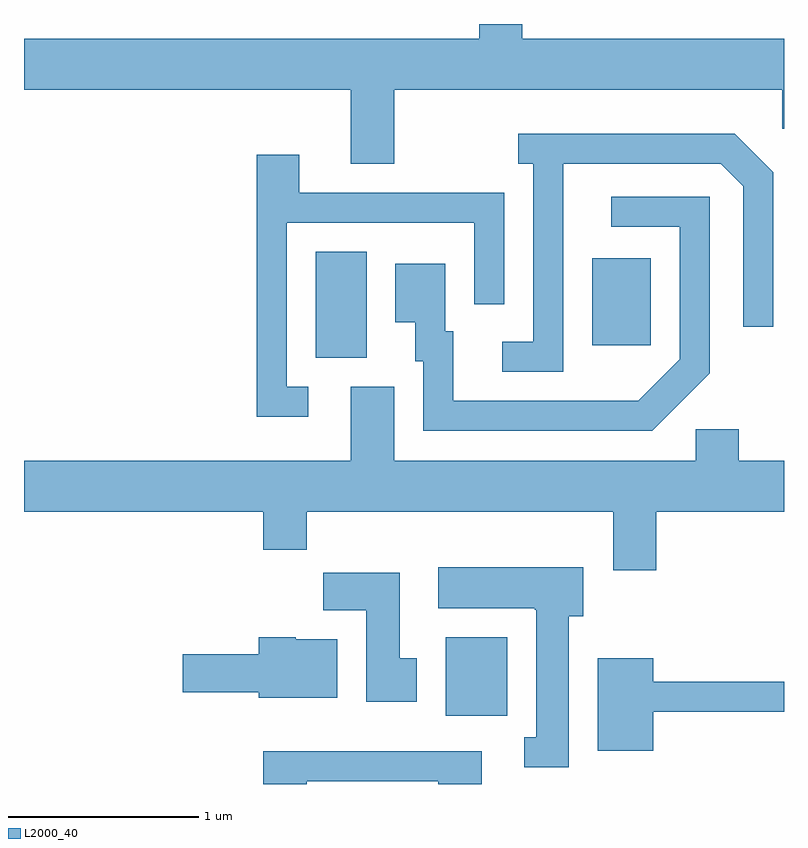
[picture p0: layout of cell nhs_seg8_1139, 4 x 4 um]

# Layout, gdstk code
import gdstk
lib = gdstk.Library(unit=1e-6, precision=1e-09)
def R(c, l, rs):  # rectangles x0, y0, x1, y1
    for r in rs: c.add(gdstk.rectangle(r[:2], r[2:], *l))
def P(c, l, *ps):  # polygons
    for p in ps: c.add(gdstk.Polygon(p, *l))
L2000_40 = (2000, 40)

nhs_seg8_1139 = lib.new_cell('nhs_seg8_1139')
R(nhs_seg8_1139, L2000_40, [(221.831,1808.701,222.154,1809.114), (221.146,1810.586,221.414,1811.144), (222.601,1810.651,222.909,1811.109)])
P(nhs_seg8_1139, L2000_40, [(221.559,1811.996),(223.601,1811.996),(223.601,1811.791),(223.611,1811.791),(223.611,1812.264),(222.234,1812.264),(222.234,1812.342),(222.006,1812.342),(222.006,1812.264),(219.611,1812.264),(219.611,1811.996),(221.331,1811.996),(221.331,1811.606),(221.559,1811.606)],
  [(222.449,1811.606),(223.279,1811.606),(223.396,1811.489),(223.396,1810.748),(223.554,1810.748),(223.554,1811.562),(223.352,1811.764),(222.213,1811.764),(222.213,1811.606),(222.291,1811.606),(222.291,1810.669),(222.128,1810.669),(222.128,1810.511),(222.449,1810.511)],
  [(221.108,1810.434),(220.994,1810.434),(220.994,1811.296),(221.981,1811.296),(221.981,1810.868),(222.139,1810.868),(222.139,1811.454),(221.059,1811.454),(221.059,1811.654),(220.836,1811.654),(220.836,1810.276),(221.108,1810.276)],
  [(223.219,1810.504),(223.219,1811.434),(222.703,1811.434),(222.703,1811.276),(223.061,1811.276),(223.061,1810.577),(222.844,1810.359),(221.869,1810.359),(221.869,1810.724),(221.829,1810.724),(221.829,1811.079),(221.566,1811.079),(221.566,1810.771),(221.671,1810.771),(221.671,1810.566),(221.711,1810.566),(221.711,1810.201),(222.917,1810.201)],
  [(222.939,1809.776),(223.611,1809.776),(223.611,1810.044),(223.374,1810.044),(223.374,1810.209),(223.146,1810.209),(223.146,1810.044),(221.559,1810.044),(221.559,1810.434),(221.331,1810.434),(221.331,1810.044),(219.611,1810.044),(219.611,1809.776),(220.871,1809.776),(220.871,1809.576),(221.099,1809.576),(221.099,1809.776),(222.711,1809.776),(222.711,1809.466),(222.939,1809.466)],
  [(222.479,1809.226),(222.554,1809.226),(222.554,1809.484),(221.791,1809.484),(221.791,1809.266),(222.3,1809.266),(222.3,1809.26),(222.306,1809.26),(222.306,1808.589),(222.243,1808.589),(222.243,1808.431),(222.479,1808.431)],
  [(221.679,1809.004),(221.589,1809.004),(221.589,1809.454),(221.186,1809.454),(221.186,1809.256),(221.411,1809.256),(221.411,1808.776),(221.679,1808.776)],
  [(221.259,1809.104),(221.04,1809.104),(221.04,1809.114),(220.846,1809.114),(220.846,1809.024),(220.446,1809.024),(220.446,1808.826),(220.846,1808.826),(220.846,1808.796),(221.259,1808.796)],
  [(222.924,1808.721),(223.611,1808.721),(223.611,1808.879),(222.924,1808.879),(222.924,1809.004),(222.631,1809.004),(222.631,1808.516),(222.924,1808.516)],
  [(221.099,1808.356),(221.791,1808.356),(221.791,1808.342),(222.019,1808.342),(222.019,1808.514),(220.871,1808.514),(220.871,1808.342),(221.099,1808.342)])

lib.write_gds('nhs_seg8_1139.gds')
